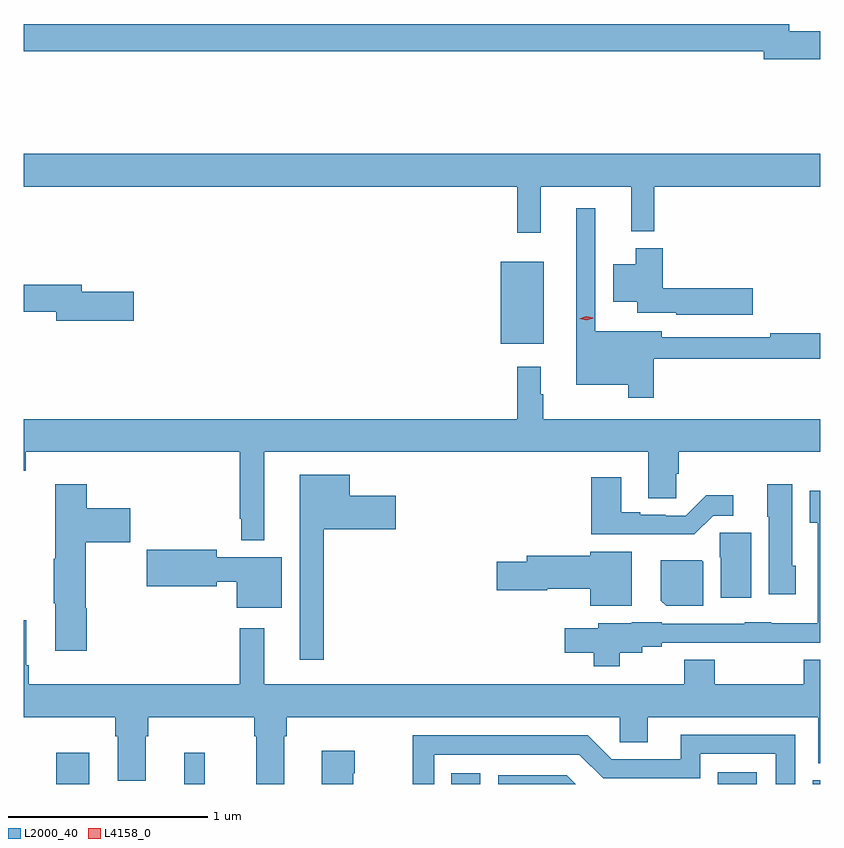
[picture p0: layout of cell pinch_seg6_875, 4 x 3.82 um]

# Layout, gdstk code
import gdstk
lib = gdstk.Library(unit=1e-6, precision=1e-09)
def R(c, l, rs):  # rectangles x0, y0, x1, y1
    for r in rs: c.add(gdstk.rectangle(r[:2], r[2:], *l))
def P(c, l, *ps):  # polygons
    for p in ps: c.add(gdstk.Polygon(p, *l))
L2000_40 = (2000, 40)
L4158_0 = (4158, 0)

pinch_seg6_875 = lib.new_cell('pinch_seg6_875')
R(pinch_seg6_875, L2000_40, [(158.462,949.664,158.626,949.822), (159.104,949.664,159.206,949.822), (160.444,949.664,160.59,949.717), (161.782,949.664,161.98,949.723), (162.261,949.664,162.298,949.683), (160.694,951.875,160.909,952.285)])
P(pinch_seg6_875, L2000_40, [(162.298,953.444),(162.142,953.444),(162.142,953.48),(158.298,953.48),(158.298,953.344),(162.014,953.344),(162.014,953.302),(162.298,953.302)],
  [(160.895,952.664),(161.348,952.664),(161.348,952.439),(161.465,952.439),(161.465,952.664),(162.298,952.664),(162.298,952.828),(158.298,952.828),(158.298,952.664),(160.777,952.664),(160.777,952.431),(160.895,952.431)],
  [(161.462,951.798),(162.298,951.798),(162.298,951.926),(162.046,951.926),(162.046,951.906),(161.502,951.906),(161.502,951.937),(161.169,951.937),(161.169,952.555),(161.072,952.555),(161.072,951.668),(161.334,951.668),(161.334,951.603),(161.462,951.603)],
  [(161.959,952.154),(161.507,952.154),(161.507,952.354),(161.372,952.354),(161.372,952.273),(161.258,952.273),(161.258,952.085),(161.378,952.085),(161.378,952.031),(161.574,952.031),(161.574,952.019),(161.959,952.019)],
  [(158.851,952.136),(158.59,952.136),(158.59,952.172),(158.298,952.172),(158.298,952.036),(158.462,952.036),(158.462,951.989),(158.851,951.989)],
  [(159.505,951.332),(161.435,951.332),(161.435,951.1),(161.574,951.1),(161.574,951.222),(161.588,951.222),(161.588,951.332),(162.298,951.332),(162.298,951.496),(160.906,951.496),(160.906,951.62),(160.894,951.62),(160.894,951.76),(160.777,951.76),(160.777,951.496),(158.298,951.496),(158.298,951.236),(158.309,951.236),(158.309,951.332),(159.384,951.332),(159.384,950.995),(159.39,950.995),(159.39,950.888),(159.505,950.888)],
  [(159.805,950.942),(160.165,950.942),(160.165,951.112),(159.934,951.112),(159.934,951.217),(159.683,951.217),(159.683,950.289),(159.805,950.289)],
  [(161.76,951.012),(161.86,951.012),(161.86,951.115),(161.725,951.115),(161.622,951.012),(161.522,951.012),(161.522,951.015),(161.395,951.015),(161.395,951.028),(161.299,951.028),(161.299,951.205),(161.147,951.205),(161.147,950.918),(161.665,950.918)],
  [(158.615,950.546),(158.61,950.546),(158.61,950.879),(158.833,950.879),(158.833,951.049),(158.615,951.049),(158.615,951.169),(158.456,951.169),(158.456,950.795),(158.449,950.795),(158.449,950.572),(158.456,950.572),(158.456,950.334),(158.615,950.334)],
  [(162.175,950.76),(162.157,950.76),(162.157,951.169),(162.032,951.169),(162.032,951.006),(162.038,951.006),(162.038,950.616),(162.175,950.616)],
  [(161.29,950.324),(161.404,950.324),(161.404,950.354),(161.502,950.354),(161.502,950.373),(161.919,950.373),(161.919,950.372),(162.151,950.372),(162.151,950.373),(162.298,950.373),(162.298,951.136),(162.245,951.136),(162.245,950.975),(162.285,950.975),(162.285,950.47),(162.051,950.47),(162.051,950.476),(161.919,950.476),(161.919,950.469),(161.502,950.469),(161.502,950.476),(161.352,950.476),(161.352,950.47),(161.184,950.47),(161.184,950.446),(161.016,950.446),(161.016,950.324),(161.161,950.324),(161.161,950.255),(161.29,950.255)],
  [(161.95,950.925),(161.794,950.925),(161.794,950.802),(161.798,950.802),(161.798,950.598),(161.95,950.598)],
  [(159.595,950.803),(159.268,950.803),(159.268,950.84),(158.916,950.84),(158.916,950.657),(159.268,950.657),(159.268,950.68),(159.368,950.68),(159.368,950.549),(159.595,950.549)],
  [(161.35,950.83),(161.144,950.83),(161.144,950.81),(160.823,950.81),(160.823,950.78),(160.674,950.78),(160.674,950.638),(160.927,950.638),(160.927,950.645),(161.144,950.645),(161.144,950.558),(161.35,950.558)],
  [(161.71,950.78),(161.702,950.788),(161.498,950.788),(161.498,950.584),(161.524,950.558),(161.71,950.558)],
  [(159.607,949.904),(159.62,949.904),(159.62,950),(161.292,950),(161.292,949.873),(161.431,949.873),(161.431,950),(162.287,950),(162.287,949.768),(162.298,949.768),(162.298,950.288),(162.214,950.288),(162.214,950.164),(161.769,950.164),(161.769,950.288),(161.614,950.288),(161.614,950.164),(159.505,950.164),(159.505,950.446),(159.384,950.446),(159.384,950.164),(158.324,950.164),(158.324,950.26),(158.311,950.26),(158.311,950.485),(158.298,950.485),(158.298,950),(158.759,950),(158.759,949.904),(158.771,949.904),(158.771,949.68),(158.911,949.68),(158.911,949.904),(158.924,949.904),(158.924,950),(159.455,950),(159.455,949.904),(159.467,949.904),(159.467,949.664),(159.607,949.664)],
  [(160.359,949.812),(161.088,949.812),(161.208,949.692),(161.694,949.692),(161.694,949.815),(162.075,949.815),(162.075,949.664),(162.171,949.664),(162.171,949.911),(161.597,949.911),(161.597,949.788),(161.25,949.788),(161.13,949.908),(160.251,949.908),(160.251,949.664),(160.359,949.664)],
  [(159.952,949.718),(159.96,949.718),(159.96,949.831),(159.794,949.831),(159.794,949.664),(159.952,949.664)],
  [(161.026,949.707),(160.68,949.707),(160.68,949.664),(161.069,949.664)])
P(pinch_seg6_875, L4158_0, [(161.124,951.992),(161.088,952),(161.088,952),(161.088,952),(161.123,952.012),(161.158,952.004),(161.159,952.004),(161.158,952.003)])

lib.write_gds('pinch_seg6_875.gds')
